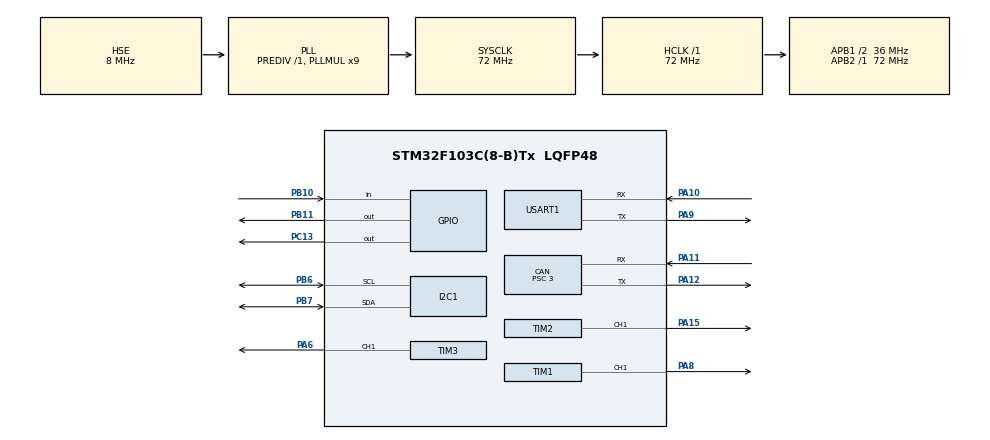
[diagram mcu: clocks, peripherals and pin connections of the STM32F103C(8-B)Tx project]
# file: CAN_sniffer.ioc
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CAN.BS1=CAN_BS1_11TQ
CAN.BS2=CAN_BS2_2TQ
CAN.CalculateBaudRate=857142
CAN.CalculateTimeBit=1166
CAN.CalculateTimeQuantum=83.33333333333334
CAN.Mode=CAN_MODE_NORMAL
CAN.Prescaler=3
Dma.Request0=USART1_RX
Dma.USART1_RX.0.Direction=DMA_PERIPH_TO_MEMORY
Dma.USART1_RX.0.Instance=DMA1_Channel5
Dma.USART1_RX.0.MemDataAlignment=DMA_MDATAALIGN_BYTE
Dma.USART1_RX.0.MemInc=DMA_MINC_ENABLE
Dma.USART1_RX.0.Mode=DMA_NORMAL
Dma.USART1_RX.0.PeriphDataAlignment=DMA_PDATAALIGN_BYTE
Dma.USART1_RX.0.PeriphInc=DMA_PINC_DISABLE
Dma.USART1_RX.0.Priority=DMA_PRIORITY_LOW
Mcu.Family=STM32F1
Mcu.Name=STM32F103C(8-B)Tx
Mcu.Package=LQFP48
NVIC.CAN1_RX1_IRQn=true\:0\:0\:false\:false\:true\:true\:true\:true
NVIC.CAN1_SCE_IRQn=true\:0\:0\:false\:false\:true\:true\:true\:true
NVIC.DMA1_Channel5_IRQn=true\:0\:0\:false\:false\:true\:false\:true\:true
NVIC.PriorityGroup=NVIC_PRIORITYGROUP_4
NVIC.USART1_IRQn=true\:0\:0\:false\:false\:true\:true\:true\:true
NVIC.USB_HP_CAN1_TX_IRQn=true\:0\:0\:false\:false\:true\:true\:true\:true
NVIC.USB_LP_CAN1_RX0_IRQn=true\:0\:0\:false\:false\:true\:true\:true\:true
PA10.Mode=Asynchronous
PA10.Signal=USART1_RX
PA11.Mode=CAN_Activate
PA11.Signal=CAN_RX
PA12.Mode=CAN_Activate
PA12.Signal=CAN_TX
PA13.Mode=Serial_Wire
PA13.Signal=SYS_JTMS-SWDIO
PA14.Mode=Serial_Wire
PA14.Signal=SYS_JTCK-SWCLK
PA15.Signal=S_TIM2_CH1_ETR
PA6.Signal=S_TIM3_CH1
PA8.Signal=S_TIM1_CH1
PA9.Mode=Asynchronous
PA9.Signal=USART1_TX
PB10.Signal=GPIO_Input
PB11.Signal=GPIO_Output
PB6.Mode=I2C
PB6.Signal=I2C1_SCL
PB7.Mode=I2C
PB7.Signal=I2C1_SDA
PC13-TAMPER-RTC.Signal=GPIO_Output
PD0-OSC_IN.Mode=HSE-External-Oscillator
PD0-OSC_IN.Signal=RCC_OSC_IN
PD1-OSC_OUT.Mode=HSE-External-Oscillator
PD1-OSC_OUT.Signal=RCC_OSC_OUT
ProjectManager.HeapSize=0x200
ProjectManager.StackSize=0x400
ProjectManager.TargetToolchain=STM32CubeIDE
RCC.ADCPresc=RCC_ADCPCLK2_DIV8
RCC.AHBFreq_Value=72000000
RCC.APB1CLKDivider=RCC_HCLK_DIV2
RCC.APB1Freq_Value=36000000
RCC.APB1TimFreq_Value=72000000
RCC.APB2Freq_Value=72000000
RCC.APB2TimFreq_Value=72000000
RCC.HCLKFreq_Value=72000000
RCC.PLLMUL=RCC_PLL_MUL9
RCC.PLLSourceVirtual=RCC_PLLSOURCE_HSE
RCC.SYSCLKFreq_VALUE=72000000
RCC.SYSCLKSource=RCC_SYSCLKSOURCE_PLLCLK
RCC.USBFreq_Value=72000000
SH.S_TIM1_CH1.0=TIM1_CH1,PWM Generation1 CH1
SH.S_TIM2_CH1_ETR.0=TIM2_CH1,PWM Generation1 CH1
SH.S_TIM3_CH1.0=TIM3_CH1,PWM Generation1 CH1
TIM1.Channel-PWM\ Generation1\ CH1=TIM_CHANNEL_1
TIM1.Period=100-1
TIM1.Prescaler=64-1
TIM2.Channel-PWM\ Generation1\ CH1=TIM_CHANNEL_1
TIM2.Period=100-1
TIM2.Prescaler=64-1
TIM3.Channel-PWM\ Generation1\ CH1=TIM_CHANNEL_1
TIM3.Period=100-1
TIM3.Prescaler=64-1
USART1.VirtualMode=VM_ASYNC
VP_TIM1_VS_ClockSourceINT.Mode=Internal
VP_TIM2_VS_ClockSourceINT.Mode=Internal
VP_TIM3_VS_ClockSourceINT.Mode=Internal
board=custom

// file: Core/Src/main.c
/* USER CODE BEGIN Header */
/**
  ******************************************************************************
  * @file           : main.c
  * @brief          : Main program body
  ******************************************************************************
  * @attention
  *
  * Copyright (c) 2024 STMicroelectronics.
  * All rights reserved.
  *
  * This software is licensed under terms that can be found in the LICENSE file
  * in the root directory of this software component.
  * If no LICENSE file comes with this software, it is provided AS-IS.
  *
  ******************************************************************************
  */
/* USER CODE END Header */
#include "main.h"

/* USER CODE BEGIN Includes */
#include <stdio.h>
#include <string.h>
#include <math.h>
/* USER CODE END Includes */

/* USER CODE BEGIN PD */
//adresa LCD monitora u port extenderu i duzina bafera za serijsku komunikaciju
#define SLAVE_ADDRESS_LCD 0x4E // change this according to setup
#define UART_RX_BUFFER_SIZE  40
/* USER CODE END PD */

CAN_HandleTypeDef hcan;

I2C_HandleTypeDef hi2c1;

TIM_HandleTypeDef htim1;
TIM_HandleTypeDef htim2;
TIM_HandleTypeDef htim3;

UART_HandleTypeDef huart1;
DMA_HandleTypeDef hdma_usart1_rx;

/* USER CODE BEGIN PV */
CAN_TxHeaderTypeDef TxHeader;
CAN_RxHeaderTypeDef RxHeader;

uint32_t TxMailbox;
uint8_t TxData[8];
uint8_t RxData[8];

uint8_t hello_msg[] = "Hello from PL2303\r\n";
uint8_t RxChar;
uint8_t UART1_RxBuffer[UART_RX_BUFFER_SIZE] = {0};
uint16_t RxDataLen = 0;
uint8_t hexValue[20];

int lcd_thermistor = 1;
int16_t light_goal = 100;
int16_t light_now = 100;
uint8_t numChar[40];
char msg[100];

//podesavanja prisluskivaca po poziciji bita
//1 - Pojednostavljen CAN okvir
//2 - Interpretiranje komandi sa terminala
//3 - Interpretiranje CAN poruka
//4 - Izvor kontolisanja LED dioda, potenciometar(1) ili termistori(0)
//5 - LCD prikaz on/off
//6 - TBA (to be added)
//7 - TBA
//8 - TBA
//
//komande za promenu podesavanja
//$0XX - sniffer_setting = 0xXX
//$10X - pojednostavljen CAN on/off (for X = 1/0)
//$20X - Interpretacija sa terminala on/off
//$30X - Interpretacija sa CAN-a on/off
//$40X - Izvor kontrolisanja LED dioda = X
//$50X - LCD prikaz on/off
uint8_t sniffer_setting = 0xFF;
/* USER CODE END PV */

void SystemClock_Config(void);
static void MX_GPIO_Init(void);
static void MX_DMA_Init(void);
static void MX_CAN_Init(void);
static void MX_TIM1_Init(void);
static void MX_TIM2_Init(void);
static void MX_TIM3_Init(void);
static void MX_I2C1_Init(void);
static void MX_USART1_UART_Init(void);
/* USER CODE BEGIN PFP */
void SystemClock_Config(void);
void HAL_CAN_RxFifo0MsgPendingCallback(CAN_HandleTypeDef *hcan);
void HAL_UARTEx_RxEventCallback(UART_HandleTypeDef *huart, uint16_t Size);
void ADC_Read(int16_t* pValue1, int16_t* pValue2);
void lcd_send_cmd (char cmd);
void lcd_send_data (char data);
void lcd_init (void);
void lcd_send_string (char *str);
void lcd_put_cur(int row, int col);
uint8_t ASCII_To_Hex(uint8_t ascii_char);
/* USER CODE END PFP */

int main(void)
{

  /* MCU Configuration--------------------------------------------------------*/

  /* Reset of all peripherals, Initializes the Flash interface and the Systick. */
  HAL_Init();

  /* Configure the system clock */
  SystemClock_Config();

  /* Initialize all configured peripherals */
  MX_GPIO_Init();
  MX_DMA_Init();
  MX_CAN_Init();
  MX_TIM1_Init();
  MX_TIM2_Init();
  MX_TIM3_Init();
  MX_I2C1_Init();
  MX_USART1_UART_Init();
  /* USER CODE BEGIN 2 */
  //inicijaliyacija tajmera za PWM kontrolu dioda
  //pocetno sve diode ugasene
  TIM1->CCR1 = 0;
  HAL_TIM_PWM_Start(&htim1, TIM_CHANNEL_1);
  TIM2->CCR1 = 0;
  HAL_TIM_PWM_Start(&htim2, TIM_CHANNEL_1);
  TIM3->CCR1 = 0;
  HAL_TIM_PWM_Start(&htim3, TIM_CHANNEL_1);

  //inicijalizacija LCD ekrana sa pocetnom porukom
  lcd_init();
  lcd_put_cur(0, 0);
  lcd_send_string ("Hello");

  //podesavanje CAN filtra
  CAN_FilterTypeDef canfilterconfig;
  canfilterconfig.FilterActivation = CAN_FILTER_ENABLE;
  canfilterconfig.FilterBank = 12;  // anything between 0 to SlaveStartFilterBank
  canfilterconfig.FilterFIFOAssignment = CAN_RX_FIFO0;
  //canfilterconfig.FilterIdHigh = 0x103<<5;
  canfilterconfig.FilterIdHigh = 0x0000;
  canfilterconfig.FilterIdLow = 0x0000;
  //canfilterconfig.FilterMaskIdHigh = 0x1<<13;
  canfilterconfig.FilterMaskIdHigh = 0x0;
  canfilterconfig.FilterMaskIdLow = 0x0;
  canfilterconfig.FilterMode = CAN_FILTERMODE_IDMASK;
  canfilterconfig.FilterScale = CAN_FILTERSCALE_32BIT;
  canfilterconfig.SlaveStartFilterBank = 13;  // 13 to 27 are assigned to slave CAN (CAN 2) OR 0 to 12 are assigned to CAN1
  HAL_CAN_ConfigFilter(&hcan, &canfilterconfig);
  HAL_CAN_Start(&hcan);
  HAL_CAN_ActivateNotification(
          &hcan,
		  CAN_IT_TX_MAILBOX_EMPTY |
          CAN_IT_RX_FIFO0_MSG_PENDING |
          CAN_IT_RX_FIFO0_FULL |
          CAN_IT_RX_FIFO0_OVERRUN |
          CAN_IT_RX_FIFO1_MSG_PENDING |
          CAN_IT_RX_FIFO1_FULL |
          CAN_IT_RX_FIFO1_OVERRUN |
          CAN_IT_WAKEUP |
          CAN_IT_SLEEP_ACK |
          CAN_IT_ERROR_WARNING |
          CAN_IT_ERROR_PASSIVE |
          CAN_IT_BUSOFF |
          CAN_IT_LAST_ERROR_CODE |
          CAN_IT_ERROR
  );

  /* USER CODE END 2 */

  /* Infinite loop */
  /* USER CODE BEGIN WHILE */
  //promenljive za kvazi-tajmere
  //sluze za izvrsavanje odredjenih delova koda svaki sekund bez prekidne rutine
  uint32_t now = 0, last_blink = 0, last_tx = 0;

  //promenljive za debouncing tastera
  uint8_t block = 0;
  uint8_t release = 0;

  //nakon inicijalizacija napravi pauzu 1s i pokreni serijsku komunikaciju
  HAL_Delay(1000);
  HAL_UART_Transmit(&huart1, hello_msg, sizeof(hello_msg), 1000);
  HAL_UARTEx_ReceiveToIdle_DMA(&huart1, UART1_RxBuffer, UART_RX_BUFFER_SIZE);

  while (1)
  {
    /* USER CODE END WHILE */

    /* USER CODE BEGIN 3 */
	  now = HAL_GetTick();

	  //pritisnuto dugme
	  if(HAL_GPIO_ReadPin(GPIOB, GPIO_PIN_10) == GPIO_PIN_SET)
	  {
		  block++;
	  }
	  else //pusteno dugme
	  {
		  block = 0;
		  release++;
	  }

	  //ako je dugme dovoljno dugo pritisnuto i proslo dovoljno od proslog pritiska
	  if(block >= 10 && release >= 20)
	  {
		  //promeni koji termistor se priakzuje na LCDu
		  lcd_thermistor  = (lcd_thermistor % 2) + 1;
		  release = 0;

		  //posalji CAN poruku da se zatrazi vrednost drugog termistora
		  TxHeader.DLC = 0;
		  TxHeader.ExtId = 0;
		  TxHeader.IDE = CAN_ID_STD;
		  TxHeader.RTR = CAN_RTR_REMOTE;
		  if(lcd_thermistor == 1) TxHeader.StdId = 0x601;
		  else if(lcd_thermistor == 2) TxHeader.StdId = 0x602;
		  if((sniffer_setting & 0x02) == 0x02){
			  //ako je ukljucena interpretacija poruka sa terminala
			  //ispisi da je dugme pritisnuto i bitne podatke CAN poruke
			  sprintf(msg, "\nButton pressed\n");
			  HAL_UART_Transmit(&huart1, (uint8_t*)msg, strlen(msg), HAL_MAX_DELAY);
			  sprintf(msg, "StdId: 0x%03X\r\n", TxHeader.StdId);
			  HAL_UART_Transmit(&huart1, (uint8_t*)msg, strlen(msg), HAL_MAX_DELAY);
			  sprintf(msg, "RTR: 0x%01X\r\n", TxHeader.RTR);
			  HAL_UART_Transmit(&huart1, (uint8_t*)msg, strlen(msg), HAL_MAX_DELAY);
			  sprintf(msg, "DLC: 0x%02X\r\n", TxHeader.DLC);
			  HAL_UART_Transmit(&huart1, (uint8_t*)msg, strlen(msg), HAL_MAX_DELAY);
		  }
	  	  if (HAL_CAN_AddTxMessage(&hcan, &TxHeader, TxData, &TxMailbox) != HAL_OK)
	  	  {
	  		  Error_Handler();
	  	  }
	  }

	  if (now - last_tx >= 10) {// svakih 10ms
		  if((light_goal - light_now) > 1){
			  //ako je ciljano osvetljenje vece od trenutnog povecaj trenutno u koracima
			  light_now = light_now + 1;
		  }
		  else if((light_goal - light_now) < -1){
			  //ako je ciljano osvetljenje manje od trenutnog smanji trenutno u koracima
			  light_now = light_now - 1;
		  }
		  if (light_now > 300) light_now = 300; //maksimum osvetljenja dioda
		  else if (light_now < 0) light_now = 0; //minimum osvetljenja dioda

		  //osvetljenje prve diode
		  if(light_now <= 100) TIM1->CCR1 = pow(light_now, 0.8);
		  else if(light_now > 100) TIM1->CCR1 = 100;
		  else TIM1->CCR1 = 0;

		  //osvetljenje druge diode
		  if(light_now <= 200 && light_now > 100) TIM2->CCR1 = pow(light_now-100, 0.8);
		  else if(light_now > 200) TIM2->CCR1 = 100;
		  else TIM2->CCR1 = 0;

		  //osvetljenje trece diode
		  if(light_now <= 300 && light_now > 200) TIM3->CCR1 = pow(light_now-200, 0.8);
		  else if(light_now > 300) TIM3->CCR1 = 100;
		  else TIM3->CCR1 = 0;
	      last_tx = now;
	  }

	  if (now - last_blink >= 500) {
		  last_blink = now;
	  }
  }
  /* USER CODE END 3 */
}

void SystemClock_Config(void)
{
  RCC_OscInitTypeDef RCC_OscInitStruct = {0};
  RCC_ClkInitTypeDef RCC_ClkInitStruct = {0};

  /** Initializes the RCC Oscillators according to the specified parameters
  * in the RCC_OscInitTypeDef structure.
  */
  RCC_OscInitStruct.OscillatorType = RCC_OSCILLATORTYPE_HSE;
  RCC_OscInitStruct.HSEState = RCC_HSE_ON;
  RCC_OscInitStruct.HSEPredivValue = RCC_HSE_PREDIV_DIV1;
  RCC_OscInitStruct.HSIState = RCC_HSI_ON;
  RCC_OscInitStruct.PLL.PLLState = RCC_PLL_ON;
  RCC_OscInitStruct.PLL.PLLSource = RCC_PLLSOURCE_HSE;
  RCC_OscInitStruct.PLL.PLLMUL = RCC_PLL_MUL9;
  if (HAL_RCC_OscConfig(&RCC_OscInitStruct) != HAL_OK)
  {
    Error_Handler();
  }

  /** Initializes the CPU, AHB and APB buses clocks
  */
  RCC_ClkInitStruct.ClockType = RCC_CLOCKTYPE_HCLK|RCC_CLOCKTYPE_SYSCLK
                              |RCC_CLOCKTYPE_PCLK1|RCC_CLOCKTYPE_PCLK2;
  RCC_ClkInitStruct.SYSCLKSource = RCC_SYSCLKSOURCE_PLLCLK;
  RCC_ClkInitStruct.AHBCLKDivider = RCC_SYSCLK_DIV1;
  RCC_ClkInitStruct.APB1CLKDivider = RCC_HCLK_DIV2;
  RCC_ClkInitStruct.APB2CLKDivider = RCC_HCLK_DIV1;

  if (HAL_RCC_ClockConfig(&RCC_ClkInitStruct, FLASH_LATENCY_2) != HAL_OK)
  {
    Error_Handler();
  }
}

static void MX_CAN_Init(void)
{

  hcan.Instance = CAN1;
  hcan.Init.Prescaler = 3;
  hcan.Init.Mode = CAN_MODE_NORMAL;
  hcan.Init.SyncJumpWidth = CAN_SJW_1TQ;
  hcan.Init.TimeSeg1 = CAN_BS1_11TQ;
  hcan.Init.TimeSeg2 = CAN_BS2_2TQ;
  hcan.Init.TimeTriggeredMode = DISABLE;
  hcan.Init.AutoBusOff = DISABLE;
  hcan.Init.AutoWakeUp = DISABLE;
  hcan.Init.AutoRetransmission = DISABLE;
  hcan.Init.ReceiveFifoLocked = DISABLE;
  hcan.Init.TransmitFifoPriority = DISABLE;
  if (HAL_CAN_Init(&hcan) != HAL_OK)
  {
    Error_Handler();
  }

}

static void MX_I2C1_Init(void)
{

  hi2c1.Instance = I2C1;
  hi2c1.Init.ClockSpeed = 100000;
  hi2c1.Init.DutyCycle = I2C_DUTYCYCLE_2;
  hi2c1.Init.OwnAddress1 = 0;
  hi2c1.Init.AddressingMode = I2C_ADDRESSINGMODE_7BIT;
  hi2c1.Init.DualAddressMode = I2C_DUALADDRESS_DISABLE;
  hi2c1.Init.OwnAddress2 = 0;
  hi2c1.Init.GeneralCallMode = I2C_GENERALCALL_DISABLE;
  hi2c1.Init.NoStretchMode = I2C_NOSTRETCH_DISABLE;
  if (HAL_I2C_Init(&hi2c1) != HAL_OK)
  {
    Error_Handler();
  }

}

static void MX_TIM1_Init(void)
{

  TIM_ClockConfigTypeDef sClockSourceConfig = {0};
  TIM_MasterConfigTypeDef sMasterConfig = {0};
  TIM_OC_InitTypeDef sConfigOC = {0};
  TIM_BreakDeadTimeConfigTypeDef sBreakDeadTimeConfig = {0};

  htim1.Instance = TIM1;
  htim1.Init.Prescaler = 64-1;
  htim1.Init.CounterMode = TIM_COUNTERMODE_UP;
  htim1.Init.Period = 100-1;
  htim1.Init.ClockDivision = TIM_CLOCKDIVISION_DIV1;
  htim1.Init.RepetitionCounter = 0;
  htim1.Init.AutoReloadPreload = TIM_AUTORELOAD_PRELOAD_DISABLE;
  if (HAL_TIM_Base_Init(&htim1) != HAL_OK)
  {
    Error_Handler();
  }
  sClockSourceConfig.ClockSource = TIM_CLOCKSOURCE_INTERNAL;
  if (HAL_TIM_ConfigClockSource(&htim1, &sClockSourceConfig) != HAL_OK)
  {
    Error_Handler();
  }
  if (HAL_TIM_PWM_Init(&htim1) != HAL_OK)
  {
    Error_Handler();
  }
  sMasterConfig.MasterOutputTrigger = TIM_TRGO_RESET;
  sMasterConfig.MasterSlaveMode = TIM_MASTERSLAVEMODE_DISABLE;
  if (HAL_TIMEx_MasterConfigSynchronization(&htim1, &sMasterConfig) != HAL_OK)
  {
    Error_Handler();
  }
  sConfigOC.OCMode = TIM_OCMODE_PWM1;
  sConfigOC.Pulse = 0;
  sConfigOC.OCPolarity = TIM_OCPOLARITY_HIGH;
  sConfigOC.OCNPolarity = TIM_OCNPOLARITY_HIGH;
  sConfigOC.OCFastMode = TIM_OCFAST_DISABLE;
  sConfigOC.OCIdleState = TIM_OCIDLESTATE_RESET;
  sConfigOC.OCNIdleState = TIM_OCNIDLESTATE_RESET;
  if (HAL_TIM_PWM_ConfigChannel(&htim1, &sConfigOC, TIM_CHANNEL_1) != HAL_OK)
  {
    Error_Handler();
  }
  sBreakDeadTimeConfig.OffStateRunMode = TIM_OSSR_DISABLE;
  sBreakDeadTimeConfig.OffStateIDLEMode = TIM_OSSI_DISABLE;
  sBreakDeadTimeConfig.LockLevel = TIM_LOCKLEVEL_OFF;
  sBreakDeadTimeConfig.DeadTime = 0;
  sBreakDeadTimeConfig.BreakState = TIM_BREAK_DISABLE;
  sBreakDeadTimeConfig.BreakPolarity = TIM_BREAKPOLARITY_HIGH;
  sBreakDeadTimeConfig.AutomaticOutput = TIM_AUTOMATICOUTPUT_DISABLE;
  if (HAL_TIMEx_ConfigBreakDeadTime(&htim1, &sBreakDeadTimeConfig) != HAL_OK)
  {
    Error_Handler();
  }
  HAL_TIM_MspPostInit(&htim1);

}

static void MX_TIM2_Init(void)
{

  TIM_ClockConfigTypeDef sClockSourceConfig = {0};
  TIM_MasterConfigTypeDef sMasterConfig = {0};
  TIM_OC_InitTypeDef sConfigOC = {0};

  htim2.Instance = TIM2;
  htim2.Init.Prescaler = 64-1;
  htim2.Init.CounterMode = TIM_COUNTERMODE_UP;
  htim2.Init.Period = 100-1;
  htim2.Init.ClockDivision = TIM_CLOCKDIVISION_DIV1;
  htim2.Init.AutoReloadPreload = TIM_AUTORELOAD_PRELOAD_DISABLE;
  if (HAL_TIM_Base_Init(&htim2) != HAL_OK)
  {
    Error_Handler();
  }
  sClockSourceConfig.ClockSource = TIM_CLOCKSOURCE_INTERNAL;
  if (HAL_TIM_ConfigClockSource(&htim2, &sClockSourceConfig) != HAL_OK)
  {
    Error_Handler();
  }
  if (HAL_TIM_PWM_Init(&htim2) != HAL_OK)
  {
    Error_Handler();
  }
  sMasterConfig.MasterOutputTrigger = TIM_TRGO_RESET;
  sMasterConfig.MasterSlaveMode = TIM_MASTERSLAVEMODE_DISABLE;
  if (HAL_TIMEx_MasterConfigSynchronization(&htim2, &sMasterConfig) != HAL_OK)
  {
    Error_Handler();
  }
  sConfigOC.OCMode = TIM_OCMODE_PWM1;
  sConfigOC.Pulse = 0;
  sConfigOC.OCPolarity = TIM_OCPOLARITY_HIGH;
  sConfigOC.OCFastMode = TIM_OCFAST_DISABLE;
  if (HAL_TIM_PWM_ConfigChannel(&htim2, &sConfigOC, TIM_CHANNEL_1) != HAL_OK)
  {
    Error_Handler();
  }
  HAL_TIM_MspPostInit(&htim2);

}

static void MX_TIM3_Init(void)
{

  TIM_ClockConfigTypeDef sClockSourceConfig = {0};
  TIM_MasterConfigTypeDef sMasterConfig = {0};
  TIM_OC_InitTypeDef sConfigOC = {0};

  htim3.Instance = TIM3;
  htim3.Init.Prescaler = 64-1;
  htim3.Init.CounterMode = TIM_COUNTERMODE_UP;
  htim3.Init.Period = 100-1;
  htim3.Init.ClockDivision = TIM_CLOCKDIVISION_DIV1;
  htim3.Init.AutoReloadPreload = TIM_AUTORELOAD_PRELOAD_DISABLE;
  if (HAL_TIM_Base_Init(&htim3) != HAL_OK)
  {
    Error_Handler();
  }
  sClockSourceConfig.ClockSource = TIM_CLOCKSOURCE_INTERNAL;
  if (HAL_TIM_ConfigClockSource(&htim3, &sClockSourceConfig) != HAL_OK)
  {
    Error_Handler();
  }
  if (HAL_TIM_PWM_Init(&htim3) != HAL_OK)
  {
    Error_Handler();
  }
  sMasterConfig.MasterOutputTrigger = TIM_TRGO_RESET;
  sMasterConfig.MasterSlaveMode = TIM_MASTERSLAVEMODE_DISABLE;
  if (HAL_TIMEx_MasterConfigSynchronization(&htim3, &sMasterConfig) != HAL_OK)
  {
    Error_Handler();
  }
  sConfigOC.OCMode = TIM_OCMODE_PWM1;
  sConfigOC.Pulse = 0;
  sConfigOC.OCPolarity = TIM_OCPOLARITY_HIGH;
  sConfigOC.OCFastMode = TIM_OCFAST_DISABLE;
  if (HAL_TIM_PWM_ConfigChannel(&htim3, &sConfigOC, TIM_CHANNEL_1) != HAL_OK)
  {
    Error_Handler();
  }
  HAL_TIM_MspPostInit(&htim3);

}

static void MX_USART1_UART_Init(void)
{

  huart1.Instance = USART1;
  huart1.Init.BaudRate = 115200;
  huart1.Init.WordLength = UART_WORDLENGTH_8B;
  huart1.Init.StopBits = UART_STOPBITS_1;
  huart1.Init.Parity = UART_PARITY_NONE;
  huart1.Init.Mode = UART_MODE_TX_RX;
  huart1.Init.HwFlowCtl = UART_HWCONTROL_NONE;
  huart1.Init.OverSampling = UART_OVERSAMPLING_16;
  if (HAL_UART_Init(&huart1) != HAL_OK)
  {
    Error_Handler();
  }

}

static void MX_DMA_Init(void)
{

  /* DMA controller clock enable */
  __HAL_RCC_DMA1_CLK_ENABLE();

  /* DMA interrupt init */
  /* DMA1_Channel5_IRQn interrupt configuration */
  HAL_NVIC_SetPriority(DMA1_Channel5_IRQn, 0, 0);
  HAL_NVIC_EnableIRQ(DMA1_Channel5_IRQn);

}

static void MX_GPIO_Init(void)
{
  GPIO_InitTypeDef GPIO_InitStruct = {0};

  /* GPIO Ports Clock Enable */
  __HAL_RCC_GPIOC_CLK_ENABLE();
  __HAL_RCC_GPIOD_CLK_ENABLE();
  __HAL_RCC_GPIOA_CLK_ENABLE();
  __HAL_RCC_GPIOB_CLK_ENABLE();

  /*Configure GPIO pin Output Level */
  HAL_GPIO_WritePin(GPIOC, GPIO_PIN_13, GPIO_PIN_RESET);

  /*Configure GPIO pin Output Level */
  HAL_GPIO_WritePin(GPIOB, GPIO_PIN_11, GPIO_PIN_RESET);

  /*Configure GPIO pin : PC13 */
  GPIO_InitStruct.Pin = GPIO_PIN_13;
  GPIO_InitStruct.Mode = GPIO_MODE_OUTPUT_PP;
  GPIO_InitStruct.Pull = GPIO_NOPULL;
  GPIO_InitStruct.Speed = GPIO_SPEED_FREQ_LOW;
  HAL_GPIO_Init(GPIOC, &GPIO_InitStruct);

  /*Configure GPIO pin : PB10 */
  GPIO_InitStruct.Pin = GPIO_PIN_10;
  GPIO_InitStruct.Mode = GPIO_MODE_INPUT;
  GPIO_InitStruct.Pull = GPIO_NOPULL;
  HAL_GPIO_Init(GPIOB, &GPIO_InitStruct);

  /*Configure GPIO pin : PB11 */
  GPIO_InitStruct.Pin = GPIO_PIN_11;
  GPIO_InitStruct.Mode = GPIO_MODE_OUTPUT_PP;
  GPIO_InitStruct.Pull = GPIO_NOPULL;
  GPIO_InitStruct.Speed = GPIO_SPEED_FREQ_LOW;
  HAL_GPIO_Init(GPIOB, &GPIO_InitStruct);

}

/* USER CODE BEGIN 4 */
//prekidna rutina za pristigle CAN poruke
void HAL_CAN_RxFifo0MsgPendingCallback(CAN_HandleTypeDef *hcan)
{
	uint16_t adcValue;	//privremena promenljiva za smestanje ADC vrednosti
    if (HAL_CAN_GetRxMessage(hcan, CAN_RX_FIFO0, &RxHeader, RxData) == HAL_OK) {
    	HAL_GPIO_TogglePin(GPIOC, GPIO_PIN_13); //upali integrisanu diodu ako je stigla poruka

    	if((sniffer_setting & 0x01) == 0x01){
    		//ispisi pristiglu CAN poruku u pojednostavljenom zapisu
    		sprintf(msg, "\nReceived CAN message: %x%x", ((RxHeader.StdId << 1) | RxHeader.RTR), RxHeader.DLC);
    	}
    	else{
    		//ispisi pristiglu CAN poruku samo bez CRC i ACK polja
    		sprintf(msg, "\nReceived CAN message: %x",
    		(((((0x01 << 11) | RxHeader.StdId) << 6) | (RxHeader.IDE << 5) | (0x01 << 4) | RxHeader.DLC) << 1) | (RxData[0] >> 7));
    	}
    	HAL_UART_Transmit(&huart1, (uint8_t*)msg, strlen(msg), HAL_MAX_DELAY);

    	for(int brojac = 0; brojac < RxHeader.DLC; brojac++){
    		//ispisi svako polje podataka na osnovu duzine dobijene DLC poljem
    		if((sniffer_setting & 0x01) == 0x01){
    			//ispis za pojednostavljeni zapis
    			if(RxData[brojac] > 0x0F) sprintf(msg, "%x", RxData[brojac]);
    			else sprintf(msg, "0%x", RxData[brojac]);
    		}
    		else{
    			//ispis za produzeni zapis
    			if(((RxData[brojac] << 1) | RxData[brojac+1] >> 7) > 0x0F){
    				sprintf(msg, "%x", (RxData[brojac] << 1) | RxData[brojac+1] >> 7);
    			}
    			else{
    				sprintf(msg, "0%x", (RxData[brojac] << 1) | RxData[brojac+1] >> 7);
    			}
    		}
    		HAL_UART_Transmit(&huart1, (uint8_t*)msg, strlen(msg), HAL_MAX_DELAY);
    	}
    	sprintf(msg, "\n");
    	HAL_UART_Transmit(&huart1, (uint8_t*)msg, strlen(msg), HAL_MAX_DELAY);

    	if(RxHeader.StdId == 0x400)
    	{
    		//ako je stigla poruka sa ADC vrednostima i stanjem diode
    		//ispisi sve vrednosti
    		//adcValue = (RxData[0] << 8) | RxData[1];
    		if((sniffer_setting & 0x04) == 0x04){
    			sprintf(numChar, "Potentiometer: %d\n", (RxData[0] << 8) | RxData[1]);
        		HAL_UART_Transmit(&huart1, numChar, sizeof(numChar), 1000);
    		}
    		//adcValue = (RxData[2] << 8) | RxData[3];
    		if((sniffer_setting & 0x04) == 0x04){
    			sprintf(numChar, "Thermistor 1: %d\n", (RxData[2] << 8) | RxData[3]);
        		HAL_UART_Transmit(&huart1, numChar, sizeof(numChar), 1000);
    		}
    		//adcValue = (RxData[4] << 8) | RxData[5];
    		if((sniffer_setting & 0x04) == 0x04){
    			sprintf(numChar, "Thermistor 2: %d\n", (RxData[4] << 8) | RxData[5]);
        		HAL_UART_Transmit(&huart1, numChar, sizeof(numChar), 1000);
    		}
    		//adcValue = RxData[6];
    		if((sniffer_setting & 0x04) == 0x04){
    			sprintf(numChar, "LED state: %d\n", RxData[6]);
        		HAL_UART_Transmit(&huart1, numChar, sizeof(numChar), 1000);
    		}
    	}
    	else if(RxHeader.StdId == 0x401)
    	{
    		//poruka sa stanjem potenciometra
    		//adcValue = (RxData[0] << 8) | RxData[1];
    		if((sniffer_setting & 0x04) == 0x04){
    			sprintf(numChar, "Potentiometer: %d\n", (RxData[0] << 8) | RxData[1]);
        		HAL_UART_Transmit(&huart1, numChar, sizeof(numChar), 1000);
    		}
    	}
    	else if(RxHeader.StdId == 0x402)
    	{
    		//poruka sa stanjem prvog termistora
    		//adcValue = (RxData[0] << 8) | RxData[1];
    		if((sniffer_setting & 0x04) == 0x04){
    			sprintf(numChar, "Thermistor 1: %d\n", (RxData[0] << 8) | RxData[1]);
        		HAL_UART_Transmit(&huart1, numChar, sizeof(numChar), 1000);
    		}
    	}
    	else if(RxHeader.StdId == 0x403)
    	{
    		//poruka sa stanjem drugog termistora
    		//adcValue = (RxData[0] << 8) | RxData[1];
    		if((sniffer_setting & 0x04) == 0x04){
    			sprintf(numChar, "Thermistor 2: %d\n", (RxData[0] << 8) | RxData[1]);
        		HAL_UART_Transmit(&huart1, numChar, sizeof(numChar), 1000);
    		}
    	}
    	else if(RxHeader.StdId == 0x404)
    	{
    		//poruka sa stanjem diode
    		//adcValue = (RxData[0] << 8) | RxData[1];
    		if((sniffer_setting & 0x04) == 0x04){
    			sprintf(numChar, "LED state: %d\n", RxData[0]);
        		HAL_UART_Transmit(&huart1, numChar, sizeof(numChar), 1000);
    		}
    	}
    	else if(RxHeader.StdId == 0x605){
    		//prikaz na LCDu svakih 1s
    		if((sniffer_setting & 0x08) == 0x08){
    			//diode se kontrolisu potenciometrom
    			light_goal = 300*((RxData[0] << 8) | RxData[1])/4096;
    			adcValue = (RxData[2] << 8) | RxData[3];
    		}
    		else{
    			//diode se kontrolisu razlikom na termistorima
    			light_goal = 2*(((RxData[0] << 8) | RxData[1]) - ((RxData[2] << 8) | RxData[3]));
    			if(lcd_thermistor == 1) adcValue = (RxData[0] << 8) | RxData[1];
    			else adcValue = (RxData[2] << 8) | RxData[3];
    		}

    		//ispis stanja termistora na LCDu
    		if((sniffer_setting & 0x10) == 0x10){
    			sprintf(numChar, "Thermistor %d", lcd_thermistor);
        		lcd_put_cur(0, 0);
        		lcd_send_string (numChar);
        		sprintf(numChar, "%4d", adcValue);
        		lcd_put_cur(1, 0);
        		lcd_send_string (numChar);
    		}

    	}
    }
}

//prekidna rutina za poruke sa serijske komunikacije
void HAL_UARTEx_RxEventCallback(UART_HandleTypeDef *huart, uint16_t Size)
{
	sprintf(msg, "\nReceived Command: %s\n", UART1_RxBuffer);
	HAL_UART_Transmit(&huart1, (uint8_t*)msg, strlen(msg), HAL_MAX_DELAY);

	//ako se salje CAN paket
	if(UART1_RxBuffer[0] == '#'){
		//protumaci sve karaktere u poruci i prebaci ih u HEX vrednosti
		for(int brojac = 1; brojac<Size; brojac++){
			hexValue[brojac-1] = ASCII_To_Hex(UART1_RxBuffer[brojac]);
		}

		//sastavi CAN poruku
		//uint16_t arb_field = ((hexValue[0] << 8) | (hexValue[1] << 4) | hexValue[2]);
		TxHeader.StdId = ((hexValue[0] << 8) | (hexValue[1] << 4) | hexValue[2]) >> 1;
		TxHeader.RTR = ((hexValue[0] << 8) | (hexValue[1] << 4) | hexValue[2]) & 0x01;
		TxHeader.IDE = CAN_ID_STD;
		TxHeader.ExtId = 0;
		TxHeader.DLC = hexValue[3];
		if((sniffer_setting & 0x02) == 0x02){
			//ako je ukljucena interpretacija prikayi sastavljenu poruku
			sprintf(msg, "StdId: 0x%03X\r\n", TxHeader.StdId);
			HAL_UART_Transmit(&huart1, (uint8_t*)msg, strlen(msg), HAL_MAX_DELAY);
			sprintf(msg, "RTR: 0x%01X\r\n", TxHeader.RTR);
			HAL_UART_Transmit(&huart1, (uint8_t*)msg, strlen(msg), HAL_MAX_DELAY);
			sprintf(msg, "DLC: 0x%02X\r\n", TxHeader.DLC);
			HAL_UART_Transmit(&huart1, (uint8_t*)msg, strlen(msg), HAL_MAX_DELAY);
		}
		if(TxHeader.RTR == 0){
			//ako je poruka sa podacima onda sastavi i taj deo poruke
			for(int brojac = 0; brojac < TxHeader.DLC; brojac++){
				TxData[brojac] = (hexValue[4+brojac*2] << 4) | (hexValue[5+brojac*2]);
				if((sniffer_setting & 0x02) == 0x02){
					//ako je ukljucena interpretacija poruka prikazi sastavljene podatke
					sprintf(msg, "TxData[%d]: 0x%02X\r\n", brojac, TxData[brojac]);
			    	HAL_UART_Transmit(&huart1, (uint8_t*)msg, strlen(msg), HAL_MAX_DELAY);
				}
		    }
		}
		TxHeader.TransmitGlobalTime = DISABLE;
		if (HAL_CAN_AddTxMessage(&hcan, &TxHeader, TxData, &TxMailbox) != HAL_OK)
		{
		   	Error_Handler();
		}
	}

	//ako je poruka za promenu podesavanja Sniffera
	else if(UART1_RxBuffer[0] == '$'){
		//protumaci sve karaktere u poruci i prebaci ih u HEX vrednosti
		for(int brojac = 1; brojac<Size; brojac++){
			hexValue[brojac-1] = ASCII_To_Hex(UART1_RxBuffer[brojac]);
		}

		//ako je komanda za podesavanje svih vrednosti od jednom
		if(hexValue[0] == 0x00){
			sniffer_setting = (hexValue[1] << 4) | hexValue[2];
			sprintf(msg, "Settings: 0x%02X\r\n", sniffer_setting);
	    	HAL_UART_Transmit(&huart1, (uint8_t*)msg, strlen(msg), HAL_MAX_DELAY);
	    	if((sniffer_setting & 0x10) == 0x00){
	    		//ako treba da se iskljuci prikaz na monitoru ispisi prazna mesta
	    		sprintf(numChar, "                ");
        		lcd_put_cur(0, 0);
        		lcd_send_string (numChar);
        		lcd_put_cur(1, 0);
        		lcd_send_string (numChar);
	    	}
	    	//sastavi CAN poruku gde se salje vrednost 4. bita
	    	TxHeader.StdId = 0x301;
			TxHeader.RTR = CAN_RTR_DATA;
			TxHeader.IDE = CAN_ID_STD;
			TxHeader.ExtId = 0;
			TxHeader.DLC = 1;
			TxData[0] = (sniffer_setting >> 3) & 0x01;
			TxHeader.TransmitGlobalTime = DISABLE;
			if (HAL_CAN_AddTxMessage(&hcan, &TxHeader, TxData, &TxMailbox) != HAL_OK)
			{
			   	Error_Handler();
			}
		}

		//ako je definisan koji bit se menja postavi ga na upisanu vrednost
		if(hexValue[0] == 0x01){
			if(hexValue[2] == 0x01) sniffer_setting |= 0x01;
			else if(hexValue[2] == 0x00) sniffer_setting &= 0xFE;
		}
		if(hexValue[0] == 0x02){
			if(hexValue[2] == 0x01) sniffer_setting |= 0x02;
			else if(hexValue[2] == 0x00) sniffer_setting &= 0xFD;
		}
		if(hexValue[0] == 0x03){
			if(hexValue[2] == 0x01) sniffer_setting |= 0x04;
			else if(hexValue[2] == 0x00) sniffer_setting &= 0xFB;
		}
		if(hexValue[0] == 0x04){
			if(hexValue[2] == 0x01) sniffer_setting |= 0x08;
			else if(hexValue[2] == 0x00) sniffer_setting &= 0xF7;
			//ako se menja 4. bit posalji njegovu vrednost u CAN poruci
			TxHeader.StdId = 0x301;
			TxHeader.RTR = CAN_RTR_DATA;
			TxHeader.IDE = CAN_ID_STD;
			TxHeader.ExtId = 0;
			TxHeader.DLC = 1;
			TxData[0] = hexValue[2];
			TxHeader.TransmitGlobalTime = DISABLE;
			if (HAL_CAN_AddTxMessage(&hcan, &TxHeader, TxData, &TxMailbox) != HAL_OK)
			{
			   	Error_Handler();
			}
		}
		if(hexValue[0] == 0x05){
			if(hexValue[2] == 0x01) sniffer_setting |= 0x10;
			else if(hexValue[2] == 0x00){
				//ako treba da se iskljuci prikaz na monitoru ispisi prazna mesta
				sniffer_setting &= 0xEF;
				sprintf(numChar, "                ");
        		lcd_put_cur(0, 0);
        		lcd_send_string (numChar);
        		lcd_put_cur(1, 0);
        		lcd_send_string (numChar);
			}
		}
	}

	//ako prvi karakter nije ni # ni $ onda poruka nije dobrog formata
	else{
		sprintf(msg, "Invalid message type\nMessages begin with # for CAN frame or $ for Sniffer setup\n");
		HAL_UART_Transmit(&huart1, (uint8_t*)msg, strlen(msg), HAL_MAX_DELAY);
	}

	fflush(UART1_RxBuffer);
	HAL_UARTEx_ReceiveToIdle_DMA(&huart1, UART1_RxBuffer, UART_RX_BUFFER_SIZE);
}

//funckije za inicijalizaciju i kontrolisanje LCD ekrana
void lcd_send_cmd (char cmd)
{
  char data_u, data_l;
  data_u = (cmd&0xf0);
  data_l = ((cmd<<4)&0xf0);
  uint8_t data_t[4];
  data_t[0] = data_u|0x0C;  //en=1, rs=0 -> bxxxx1100
  data_t[1] = data_u|0x08;  //en=0, rs=0 -> bxxxx1000
  data_t[2] = data_l|0x0C;  //en=1, rs=0 -> bxxxx1100
  data_t[3] = data_l|0x08;  //en=0, rs=0 -> bxxxx1000
  HAL_I2C_Master_Transmit (&hi2c1, SLAVE_ADDRESS_LCD,(uint8_t *) data_t, 4, 100);
}

void lcd_send_data (char data)
{
	char data_u, data_l;
	uint8_t data_t[4];
	data_u = (data&0xf0);
	data_l = ((data<<4)&0xf0);
	data_t[0] = data_u|0x0D;  //en=1, rs=1 -> bxxxx1101
	data_t[1] = data_u|0x09;  //en=0, rs=1 -> bxxxx1001
	data_t[2] = data_l|0x0D;  //en=1, rs=1 -> bxxxx1101
	data_t[3] = data_l|0x09;  //en=0, rs=1 -> bxxxx1001
	HAL_I2C_Master_Transmit (&hi2c1, SLAVE_ADDRESS_LCD,(uint8_t *) data_t, 4, 100);
}

void lcd_init (void)
{
  // 4 bit initialisation
  HAL_Delay(50);  // wait for >40ms
  lcd_send_cmd (0x30);
  HAL_Delay(5);  // wait for >4.1ms
  lcd_send_cmd (0x30);
  HAL_Delay(1);  // wait for >100us
  lcd_send_cmd (0x30);
  HAL_Delay(10);
  lcd_send_cmd (0x20);  // 4bit mode
  HAL_Delay(10);

  // display initialisation
  lcd_send_cmd (0x28); // Function set --> DL=0 (4 bit mode), N = 1 (2 line display) F = 0 (5x8 characters)
  HAL_Delay(1);
  lcd_send_cmd (0x08); //Display on/off control --> D=0,C=0, B=0  ---> display off
  HAL_Delay(1);
  lcd_send_cmd (0x01);  // clear display
  HAL_Delay(2);
  lcd_send_cmd (0x06); //Entry mode set --> I/D = 1 (increment cursor) & S = 0 (no shift)
  HAL_Delay(1);
  lcd_send_cmd (0x0C); //Display on/off control --> D = 1, C and B = 0. (Cursor and blink, last two bits)
}

void lcd_send_string (char *str)
{
  while (*str) lcd_send_data (*str++);
}

void lcd_put_cur(int row, int col)
{
    switch (row)
    {
        case 0:
            col |= 0x80;
            break;
        case 1:
            col |= 0xC0;
            break;
    }
    lcd_send_cmd (col);
}

//funckija za konverziju karaktera u HEX vrednost koju on predstavlja
uint8_t ASCII_To_Hex(uint8_t ascii_char)
{
    if (ascii_char >= '0' && ascii_char <= '9')
    {
        return ascii_char - '0';  // '0' to '9' are mapped to 0x0 to 0x9
    }
    else if (ascii_char >= 'A' && ascii_char <= 'F')
    {
        return ascii_char - 'A' + 10;  // 'A' to 'F' are mapped to 0xA to 0xF
    }
    else if (ascii_char >= 'a' && ascii_char <= 'f')
    {
        return ascii_char - 'a' + 10;  // 'a' to 'f' are mapped to 0xA to 0xF
    }
    else
    {
        return 0xFF;  // Invalid hex character
    }
}
/* USER CODE END 4 */

void Error_Handler(void)
{
  __disable_irq();
  while (1)
  {
  }
}
